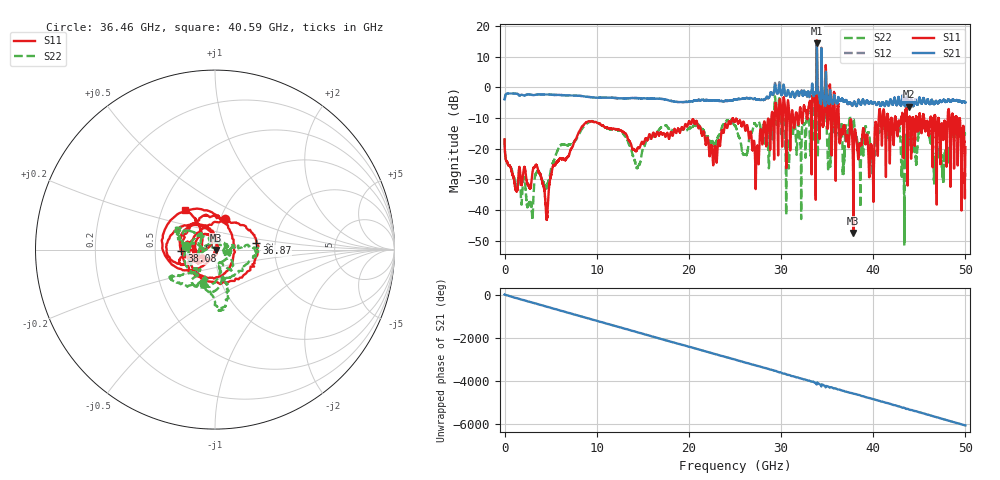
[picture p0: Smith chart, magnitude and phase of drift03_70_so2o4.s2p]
!Created with skrf (http://scikit-rf.org).
# Hz S RI R 50.0
!freq ReS11 ImS11 ReS21 ImS21 ReS12 ImS12 ReS22 ImS22
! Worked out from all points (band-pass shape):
!   10001 points, 300 kHz to 50 GHz, reference 50 ohm
!   highest |S21| = 14.37 dB at 33.88 GHz (marker M1); lowest = -6.3 dB at 43.87 GHz (marker M2)
!   |S21| within 3 dB of the highest: 33.86885 GHz to 33.88838 GHz (19.53 MHz wide, 0.0576 % of centre); 34.37657 GHz to 34.38841 GHz (11.84 MHz wide, 0.0344 % of centre)
!   lowest |S11| = -47.5 dB at 37.84 GHz (marker M3), VSWR 1.01, Z = 50.4 - j0.232 ohm
!   |S11| at or under -10 dB: start of sweep to 28.94 GHz; 36.27 GHz to 40.6 GHz (4.335 GHz wide, 11.3 % of centre); 47.07 GHz to 48.08 GHz (1.007 GHz wide, 2.12 % of centre) (the widest 3 of 63)
!   |S22| runs from -51.8 to 11.3 dB; largest |S21 - S12| = 0.8
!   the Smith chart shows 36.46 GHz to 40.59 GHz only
!   S11 on the Smith chart (normalised r, x): 36.46 GHz: 1.05, +0.37; 36.87 GHz: 1.60, +0.12; 38.08 GHz: 0.68, -0.01; 40.59 GHz: 0.66, +0.31
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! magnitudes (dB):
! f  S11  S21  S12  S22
! 300 kHz  -17.0  -4.0  -4.0  -16.7
! 2.82 GHz  -32.7  -2.4  -2.4  -38.0
! 4.555 GHz  -42.9  -2.3  -2.3  -32.4
! 8.335 GHz  -13.1  -2.8  -2.8  -13.9
! 14.44 GHz  -19.9  -3.5  -3.5  -26.1
! 16.67 GHz  -15.4  -3.7  -3.7  -14.3
! 22.82 GHz  -19.3  -4.3  -4.3  -19.1
! 25 GHz  -10.9  -4.0  -4.0  -12.4
! 26.09 GHz  -13.7  -3.6  -3.6  -21.9
! 27.39 GHz  -19.4  -4.1  -4.1  -12.4
! 29.6 GHz  -10.5  -2.0  -2.1  -11.7
! 30.7 GHz  -5.7  -1.4  -1.5  -17.3
! 33.34 GHz  -14.2  -0.5  -0.5  -7.1
! 33.88 GHz  15.3  14.4  14.0  10.9
! 36.46 GHz  -14.9  -4.3  -4.4  -15.8
! 36.87 GHz  -12.6  -4.7  -4.6  -22.0
! 37.84 GHz  -47.5  -5.4  -5.4  -11.0
! 38.08 GHz  -14.5  -5.5  -5.4  -16.9
! 40.59 GHz  -11.2  -4.9  -4.9  -14.0
! 41.67 GHz  -12.1  -5.9  -5.9  -15.0
! 43.87 GHz  -10.1  -6.3  -6.2  -17.1
! 50 GHz  -19.5  -4.9  -4.9  -15.1
